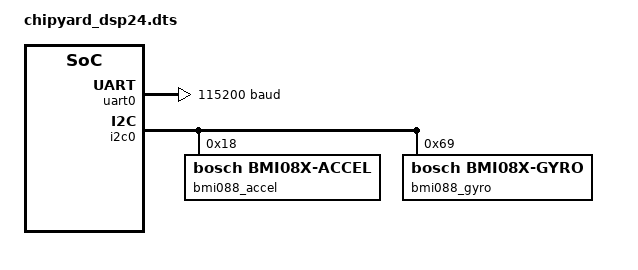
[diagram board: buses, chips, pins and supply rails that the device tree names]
/dts-v1/;

#include <chipyard/chipyard-riscv64.dtsi>

/ {
	chosen {
		zephyr,console= &uart0;
		zephyr,shell-uart = &uart0;
		zephyr,sram = &ram0;
		zephyr,flash = &flash0;
	};

	aliases {
		bmi088-accel = &bmi088_accel;
		bmi088-gyro = &bmi088_gyro;
	};
};

&uart0 {
	status = "okay";
	current-speed = <115200>;  // Set appropriate baud rate
};

&i2c0 {
	status = "okay";

	bmi088_accel: bmi08x@69 {
		compatible = "bosch,bmi08x-accel";
		reg = <0x18>;
		accel-hz = "800";
		accel-fs = <6>;
	};

	bmi088_gyro: bmi08x@18 {
		compatible = "bosch,bmi08x-gyro";
		reg = <0x69>;
		gyro-hz = "1000_116";
		gyro-fs = <1000>;
	};
};

&htif {
	status = "disabled";
};

// &ram0 {
// 	reg = < 0x08000000 0x00008000 >;
// };

&ram0 {
	reg = < 0x80000000 0x00080000 >;
};

&flash0 {
	status = "okay";
};


